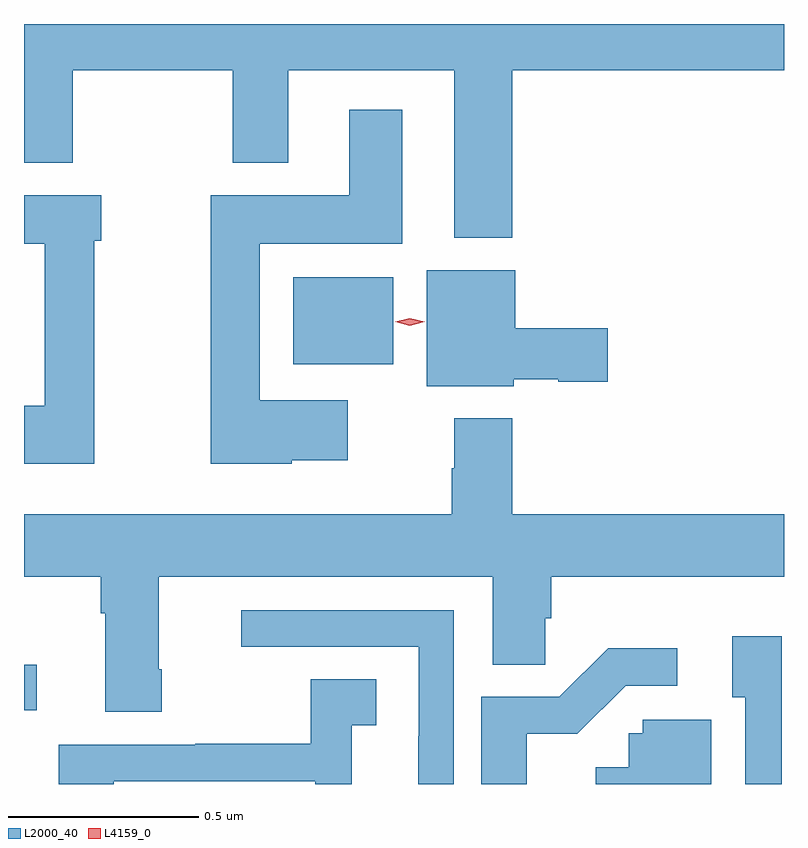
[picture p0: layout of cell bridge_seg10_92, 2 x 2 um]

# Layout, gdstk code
import gdstk
lib = gdstk.Library(unit=1e-6, precision=1e-09)
def R(c, l, rs):  # rectangles x0, y0, x1, y1
    for r in rs: c.add(gdstk.rectangle(r[:2], r[2:], *l))
def P(c, l, *ps):  # polygons
    for p in ps: c.add(gdstk.Polygon(p, *l))
L2000_40 = (2000, 40)
L4159_0 = (4159, 0)

bridge_seg10_92 = lib.new_cell('bridge_seg10_92')
R(bridge_seg10_92, L2000_40, [(636.835,1298.632,636.868,1298.752), (637.544,1299.542,637.807,1299.772)])
P(bridge_seg10_92, L2000_40, [(638.12,1300.316),(638.835,1300.316),(638.835,1300.438),(636.835,1300.438),(636.835,1300.073),(636.963,1300.073),(636.963,1300.316),(637.384,1300.316),(637.384,1300.073),(637.531,1300.073),(637.531,1300.316),(637.967,1300.316),(637.967,1299.875),(638.12,1299.875)],
  [(637.539,1299.29),(637.687,1299.29),(637.687,1299.448),(637.456,1299.448),(637.456,1299.86),(637.831,1299.86),(637.831,1300.213),(637.691,1300.213),(637.691,1299.988),(637.327,1299.988),(637.327,1299.281),(637.539,1299.281)],
  [(637.02,1299.867),(637.038,1299.867),(637.038,1299.988),(636.835,1299.988),(636.835,1299.86),(636.89,1299.86),(636.89,1299.433),(636.835,1299.433),(636.835,1299.281),(637.02,1299.281)],
  [(638.124,1299.503),(638.241,1299.503),(638.241,1299.496),(638.371,1299.496),(638.371,1299.638),(638.128,1299.638),(638.128,1299.79),(637.895,1299.79),(637.895,1299.485),(638.124,1299.485)],
  [(637.967,1299.4),(637.967,1299.269),(637.96,1299.269),(637.96,1299.148),(636.835,1299.148),(636.835,1298.984),(637.037,1298.984),(637.037,1298.888),(637.049,1298.888),(637.049,1298.628),(637.197,1298.628),(637.197,1298.74),(637.189,1298.74),(637.189,1298.984),(638.069,1298.984),(638.069,1298.752),(638.207,1298.752),(638.207,1298.874),(638.222,1298.874),(638.222,1298.984),(638.835,1298.984),(638.835,1299.148),(638.12,1299.148),(638.12,1299.4)],
  [(637.966,1298.895),(637.407,1298.895),(637.407,1298.799),(637.874,1298.799),(637.874,1298.564),(637.872,1298.564),(637.872,1298.438),(637.966,1298.438)],
  [(638.829,1298.827),(638.699,1298.827),(638.699,1298.666),(638.733,1298.666),(638.733,1298.438),(638.829,1298.438)],
  [(638.158,1298.57),(638.291,1298.57),(638.418,1298.697),(638.554,1298.697),(638.554,1298.795),(638.372,1298.795),(638.244,1298.667),(638.038,1298.667),(638.038,1298.438),(638.158,1298.438)],
  [(637.071,1298.445),(637.602,1298.445),(637.602,1298.438),(637.698,1298.438),(637.698,1298.593),(637.762,1298.593),(637.762,1298.714),(637.59,1298.714),(637.59,1298.544),(637.285,1298.544),(637.285,1298.541),(636.927,1298.541),(636.927,1298.438),(637.071,1298.438)],
  [(638.644,1298.607),(638.463,1298.607),(638.463,1298.571),(638.427,1298.571),(638.427,1298.482),(638.34,1298.482),(638.34,1298.438),(638.644,1298.438)])
P(bridge_seg10_92, L4159_0, [(637.85,1299.644),(637.812,1299.654),(637.812,1299.654),(637.812,1299.654),(637.85,1299.664),(637.889,1299.654),(637.889,1299.654),(637.889,1299.654)])

lib.write_gds('bridge_seg10_92.gds')
